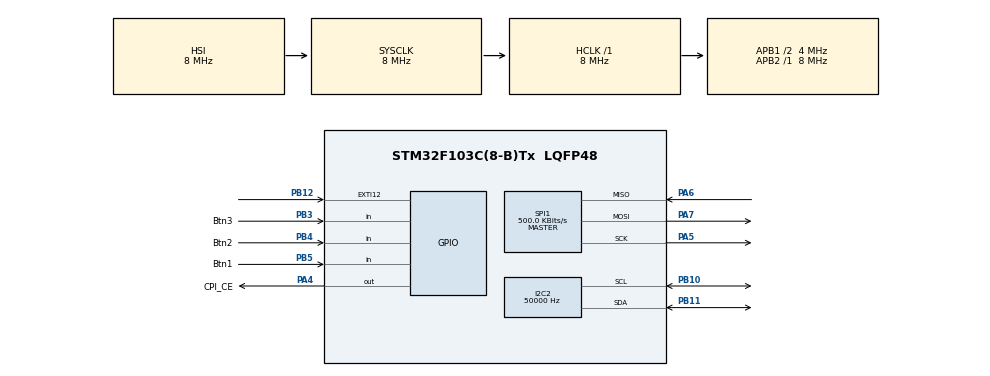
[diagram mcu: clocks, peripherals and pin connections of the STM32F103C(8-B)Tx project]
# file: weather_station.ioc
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I2C2.ClockSpeed=50000
Mcu.Family=STM32F1
Mcu.Name=STM32F103C(8-B)Tx
Mcu.Package=LQFP48
NVIC.PriorityGroup=NVIC_PRIORITYGROUP_4
PA13.Mode=Serial_Wire
PA13.Signal=SYS_JTMS-SWDIO
PA14.Mode=Serial_Wire
PA14.Signal=SYS_JTCK-SWCLK
PA4.GPIO_Label=CPI_CE
PA4.Signal=GPIO_Output
PA5.Mode=Full_Duplex_Master
PA5.Signal=SPI1_SCK
PA6.Mode=Full_Duplex_Master
PA6.Signal=SPI1_MISO
PA7.Mode=Full_Duplex_Master
PA7.Signal=SPI1_MOSI
PB10.Mode=I2C
PB10.Signal=I2C2_SCL
PB11.Mode=I2C
PB11.Signal=I2C2_SDA
PB12.Signal=GPXTI12
PB3.GPIO_Label=Btn3
PB3.Signal=GPIO_Input
PB4.GPIO_Label=Btn2
PB4.Signal=GPIO_Input
PB5.GPIO_Label=Btn1
PB5.Signal=GPIO_Input
PD0-OSC_IN.Mode=HSE-External-Oscillator
PD0-OSC_IN.Signal=RCC_OSC_IN
PD1-OSC_OUT.Mode=HSE-External-Oscillator
PD1-OSC_OUT.Signal=RCC_OSC_OUT
ProjectManager.HeapSize=0x200
ProjectManager.StackSize=0x400
ProjectManager.TargetToolchain=STM32CubeIDE
RCC.AHBFreq_Value=8000000
RCC.APB1CLKDivider=RCC_HCLK_DIV2
RCC.APB1Freq_Value=4000000
RCC.APB1TimFreq_Value=8000000
RCC.APB2Freq_Value=8000000
RCC.APB2TimFreq_Value=8000000
RCC.HCLKFreq_Value=8000000
RCC.PLLMUL=RCC_PLL_MUL9
RCC.PLLSourceVirtual=RCC_PLLSOURCE_HSE
RCC.SYSCLKFreq_VALUE=8000000
RCC.USBFreq_Value=48000000
RCC.USBPrescaler=RCC_USBCLKSOURCE_PLL_DIV1_5
SPI1.BaudRatePrescaler=SPI_BAUDRATEPRESCALER_16
SPI1.CalculateBaudRate=500.0 KBits/s
SPI1.Direction=SPI_DIRECTION_2LINES
SPI1.Mode=SPI_MODE_MASTER
SPI1.VirtualType=VM_MASTER
board=custom

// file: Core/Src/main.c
/* USER CODE BEGIN Header */
/**
  ******************************************************************************
  * @file           : main.c
  * @brief          : Main program body
  ******************************************************************************
  * @attention
  *
  * Copyright (c) 2023 STMicroelectronics.
  * All rights reserved.
  *
  * This software is licensed under terms that can be found in the LICENSE file
  * in the root directory of this software component.
  * If no LICENSE file comes with this software, it is provided AS-IS.
  *
  ******************************************************************************
  */
/* USER CODE END Header */
#include "main.h"

/* USER CODE BEGIN Includes */
#include "lcd.h"
#include "bmp180_for_stm32_hal.h"
#include "stdio.h"
#include "stdlib.h"
#include "string.h"
#include "am2320.h"
/* USER CODE END Includes */

I2C_HandleTypeDef hi2c2;

SPI_HandleTypeDef hspi1;

/* USER CODE BEGIN PV */
float dummy = 0;
Am2320_HandleTypeDef Am2320_;

uint8_t my_data[8]={0x03,0x00,0x04,0x04,0x00,0x00,0x00,0x00};

/* USER CODE END PV */

void SystemClock_Config(void);
static void MX_GPIO_Init(void);
static void MX_I2C2_Init(void);
static void MX_SPI1_Init(void);

int main(void)
{

  /* MCU Configuration--------------------------------------------------------*/

  /* Reset of all peripherals, Initializes the Flash interface and the Systick. */
  HAL_Init();

  /* Configure the system clock */
  SystemClock_Config();

  /* Initialize all configured peripherals */
  MX_GPIO_Init();
  MX_I2C2_Init();
  MX_SPI1_Init();
  /* USER CODE BEGIN 2 */
	ssd1306_Init();
	Am2320_ = am2320_Init(&hi2c2, AM2320_ADDRESS);

	BMP180_Init(&hi2c2);
	BMP180_SetOversampling(BMP180_ULTRA);
	BMP180_UpdateCalibrationData();

  /* USER CODE END 2 */

  /* Infinite loop */
  /* USER CODE BEGIN WHILE */
  HAL_GPIO_WritePin(GPIOB, GPIO_PIN_10, GPIO_PIN_SET);
  while (1)
  {
    /* USER CODE END WHILE */

    /* USER CODE BEGIN 3 */

	  HAL_Delay(1000);
	  if(HAL_GPIO_ReadPin(Btn1_GPIO_Port, Btn1_Pin)){
		  ssd1306_Fill(Black);
	  }else{
		ssd1306_SetCursor(2,0);

		int32_t temperature = BMP180_GetRawTemperature();
		int32_t pressure = BMP180_GetPressure();
		char buffer[100];
		sprintf(buffer, "T1: %d.%d", (int) temperature / 10, (int)( temperature % 10));
		ssd1306_WriteString(buffer,Font_7x10,White);

		ssd1306_SetCursor(66,0);
		sprintf(buffer, "P: %d",  (int) pressure);
		ssd1306_WriteString(buffer,Font_7x10,White);
		float t2 = 0;
		float h = 200;
		uint8_t err = am2320_GetTemperatureAndHumidity2(&Am2320_, &t2, &h);

		int32_t t2_d = (int32_t)(t2);
		int32_t h_d = (int32_t)(h);
		ssd1306_SetCursor(2,15);
		if(err!=0){
			sprintf(buffer,"ERROR: %d", err);
			ssd1306_WriteString(buffer,Font_7x10,White);
		}else{
			sprintf(buffer,"T2: %d.%d", (int) t2_d / 10, (int)( t2_d % 10));
			ssd1306_WriteString(buffer,Font_7x10,White);
			ssd1306_SetCursor(66,15);
			sprintf(buffer,"H: %d.%d", (int) h_d / 10, (int)( h_d % 10));
			ssd1306_WriteString(buffer,Font_7x10,White);
		}
	  }
	ssd1306_UpdateScreen();
  }
  /* USER CODE END 3 */
}

void SystemClock_Config(void)
{
  RCC_OscInitTypeDef RCC_OscInitStruct = {0};
  RCC_ClkInitTypeDef RCC_ClkInitStruct = {0};

  /** Initializes the RCC Oscillators according to the specified parameters
  * in the RCC_OscInitTypeDef structure.
  */
  RCC_OscInitStruct.OscillatorType = RCC_OSCILLATORTYPE_HSI;
  RCC_OscInitStruct.HSIState = RCC_HSI_ON;
  RCC_OscInitStruct.HSICalibrationValue = RCC_HSICALIBRATION_DEFAULT;
  RCC_OscInitStruct.PLL.PLLState = RCC_PLL_NONE;
  if (HAL_RCC_OscConfig(&RCC_OscInitStruct) != HAL_OK)
  {
    Error_Handler();
  }

  /** Initializes the CPU, AHB and APB buses clocks
  */
  RCC_ClkInitStruct.ClockType = RCC_CLOCKTYPE_HCLK|RCC_CLOCKTYPE_SYSCLK
                              |RCC_CLOCKTYPE_PCLK1|RCC_CLOCKTYPE_PCLK2;
  RCC_ClkInitStruct.SYSCLKSource = RCC_SYSCLKSOURCE_HSI;
  RCC_ClkInitStruct.AHBCLKDivider = RCC_SYSCLK_DIV1;
  RCC_ClkInitStruct.APB1CLKDivider = RCC_HCLK_DIV2;
  RCC_ClkInitStruct.APB2CLKDivider = RCC_HCLK_DIV1;

  if (HAL_RCC_ClockConfig(&RCC_ClkInitStruct, FLASH_LATENCY_0) != HAL_OK)
  {
    Error_Handler();
  }
}

static void MX_I2C2_Init(void)
{

  hi2c2.Instance = I2C2;
  hi2c2.Init.ClockSpeed = 50000;
  hi2c2.Init.DutyCycle = I2C_DUTYCYCLE_2;
  hi2c2.Init.OwnAddress1 = 0;
  hi2c2.Init.AddressingMode = I2C_ADDRESSINGMODE_7BIT;
  hi2c2.Init.DualAddressMode = I2C_DUALADDRESS_DISABLE;
  hi2c2.Init.OwnAddress2 = 0;
  hi2c2.Init.GeneralCallMode = I2C_GENERALCALL_DISABLE;
  hi2c2.Init.NoStretchMode = I2C_NOSTRETCH_DISABLE;
  if (HAL_I2C_Init(&hi2c2) != HAL_OK)
  {
    Error_Handler();
  }

}

static void MX_SPI1_Init(void)
{

  /* SPI1 parameter configuration*/
  hspi1.Instance = SPI1;
  hspi1.Init.Mode = SPI_MODE_MASTER;
  hspi1.Init.Direction = SPI_DIRECTION_2LINES;
  hspi1.Init.DataSize = SPI_DATASIZE_8BIT;
  hspi1.Init.CLKPolarity = SPI_POLARITY_LOW;
  hspi1.Init.CLKPhase = SPI_PHASE_1EDGE;
  hspi1.Init.NSS = SPI_NSS_SOFT;
  hspi1.Init.BaudRatePrescaler = SPI_BAUDRATEPRESCALER_16;
  hspi1.Init.FirstBit = SPI_FIRSTBIT_MSB;
  hspi1.Init.TIMode = SPI_TIMODE_DISABLE;
  hspi1.Init.CRCCalculation = SPI_CRCCALCULATION_DISABLE;
  hspi1.Init.CRCPolynomial = 10;
  if (HAL_SPI_Init(&hspi1) != HAL_OK)
  {
    Error_Handler();
  }

}

static void MX_GPIO_Init(void)
{
  GPIO_InitTypeDef GPIO_InitStruct = {0};

  /* GPIO Ports Clock Enable */
  __HAL_RCC_GPIOD_CLK_ENABLE();
  __HAL_RCC_GPIOA_CLK_ENABLE();
  __HAL_RCC_GPIOB_CLK_ENABLE();

  /*Configure GPIO pin Output Level */
  HAL_GPIO_WritePin(CPI_CE_GPIO_Port, CPI_CE_Pin, GPIO_PIN_RESET);

  /*Configure GPIO pin : CPI_CE_Pin */
  GPIO_InitStruct.Pin = CPI_CE_Pin;
  GPIO_InitStruct.Mode = GPIO_MODE_OUTPUT_PP;
  GPIO_InitStruct.Pull = GPIO_NOPULL;
  GPIO_InitStruct.Speed = GPIO_SPEED_FREQ_LOW;
  HAL_GPIO_Init(CPI_CE_GPIO_Port, &GPIO_InitStruct);

  /*Configure GPIO pin : PB12 */
  GPIO_InitStruct.Pin = GPIO_PIN_12;
  GPIO_InitStruct.Mode = GPIO_MODE_IT_RISING;
  GPIO_InitStruct.Pull = GPIO_NOPULL;
  HAL_GPIO_Init(GPIOB, &GPIO_InitStruct);

  /*Configure GPIO pins : Btn3_Pin Btn2_Pin Btn1_Pin */
  GPIO_InitStruct.Pin = Btn3_Pin|Btn2_Pin|Btn1_Pin;
  GPIO_InitStruct.Mode = GPIO_MODE_INPUT;
  GPIO_InitStruct.Pull = GPIO_NOPULL;
  HAL_GPIO_Init(GPIOB, &GPIO_InitStruct);

}

void Error_Handler(void)
{
  __disable_irq();
  while (1)
  {
  }
}
